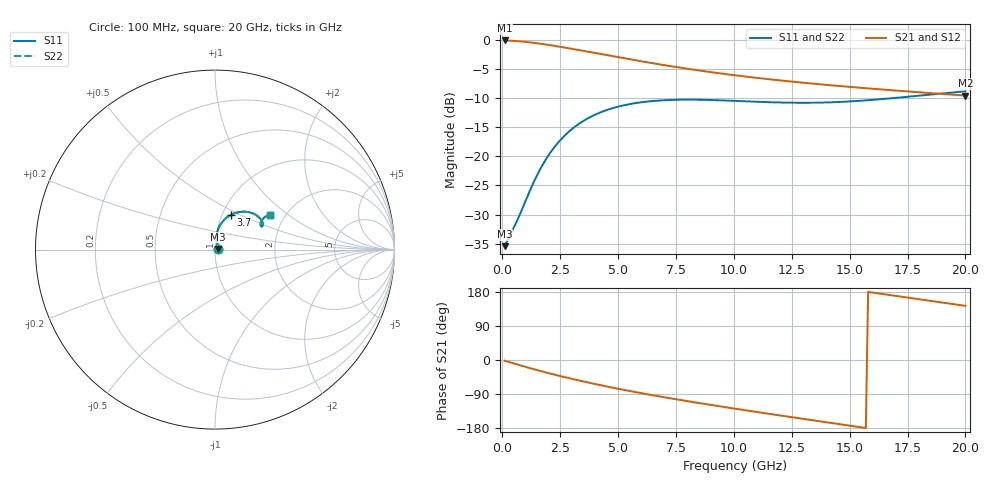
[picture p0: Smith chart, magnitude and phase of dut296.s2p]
! Touchstone file exported from HFSS 2023.1.0
!  File:  D:/Users/fzz/RDL_TSV/temp_RDL_TSV_296_1778763960.aedt
!  Generated:  9:14:17 %x4E0B%x5348  5%x6708 14, 2026
!  Design:  RDL_TSV
!  Project:  temp_RDL_TSV_296_1778763960
!  Setup:  Setup1
!  Solution:  Sweep
! Variables:
!  dtsv = 10.79um
!  hbump = 3um
!  htsv = 61.72um
!  ldown = 437.65um
!  lrdl = 490.83um
!  p = 40
!  p1 = 49.72um
!  rhole = 10um
!  subl = 3276.27um
!  t = 450um
!  tdown = 2.63um
!  trdl = 4.99um
!  viad = 10um
!  wdown = 23.98um
!  wrdl = 16.13um
!  xbump = 18um
# GHz S MA R 50.000000
! Terminal data exported
! Port[1] = TM1_1_T1
! Port[2] = TM1_4_T1
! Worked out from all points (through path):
!   200 points, 100 MHz to 20 GHz, reference 50 ohm
!   highest |S21| = -0.15 dB at 100 MHz (marker M1); lowest = -9.6 dB at 20 GHz (marker M2)
!   group delay of S21, straight-line fit = 28.4 ps
!   lowest |S11| = -35.4 dB at 100 MHz (marker M3), VSWR 1.03, Z = 51.7 + j0.426 ohm
!   |S11| at or under -10 dB: start of sweep to 16.96 GHz
!   |S22| runs from -35.4 to -8.9 dB; largest |S21 - S12| = 2e-14
!   S11 on the Smith chart (normalised r, x): 100 MHz: 1.03, +0.01; 3.7 GHz: 1.10, +0.44; 20 GHz: 1.67, +0.74
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0.1  0.01698 14.1  0.9832 -1.9  0.9832 -1.9  0.01697 14.1
! Gamma 0 0 0 0
! Port Impedance 50 0 50 0
0.6  0.02696 54.8  0.9717 -11.1  0.9717 -11.1  0.02696 54.8
0.9  0.03695 70.0  0.9605 -16.4  0.9605 -16.4  0.03695 70.1
1.4  0.06258 81.7  0.936 -24.9  0.936 -24.9  0.0626 81.7
1.9  0.09527 82.7  0.9064 -33.1  0.9064 -33.1  0.09533 82.8
2.2  0.1162 81.0  0.8873 -37.8  0.8873 -37.8  0.1163 81.1
2.6  0.1441 77.5  0.861 -43.9  0.861 -43.9  0.1442 77.6
3  0.1706 73.3  0.8343 -49.7  0.8343 -49.7  0.1709 73.4
3.5  0.2009 67.8  0.8011 -56.7  0.8011 -56.7  0.2012 67.8
3.7  0.2118 65.5  0.788 -59.4  0.788 -59.4  0.2122 65.6
4.4  0.2448 58.2  0.7435 -68.5  0.7435 -68.5  0.2453 58.2
5.1  0.2695 51.5  0.7015 -77.1  0.7015 -77.1  0.2701 51.6
5.9  0.2886 44.9  0.6574 -86.4  0.6574 -86.4  0.2894 45.0
6.8  0.3008 38.8  0.613 -96.3  0.613 -96.3  0.3016 38.9
8.4  0.3054 31.1  0.5472 -112.6  0.5472 -112.6  0.3065 31.1
10.1  0.2982 26.9  0.493 -128.9  0.493 -128.9  0.2995 27.0
11.7  0.29 26.3  0.4533 -143.7  0.4533 -143.7  0.2914 26.2
13.4  0.2877 28.0  0.4196 -159.0  0.4196 -159.0  0.289 27.9
15  0.2951 30.5  0.3934 -173.3  0.3934 -173.3  0.2963 30.3
16.7  0.3128 32.5  0.3697 171.7  0.3697 171.7  0.3138 32.4
18.4  0.3367 33.2  0.3489 156.8  0.3489 156.8  0.3374 33.0
20  0.3602 32.5  0.3316 142.9  0.3316 142.9  0.3608 32.3
